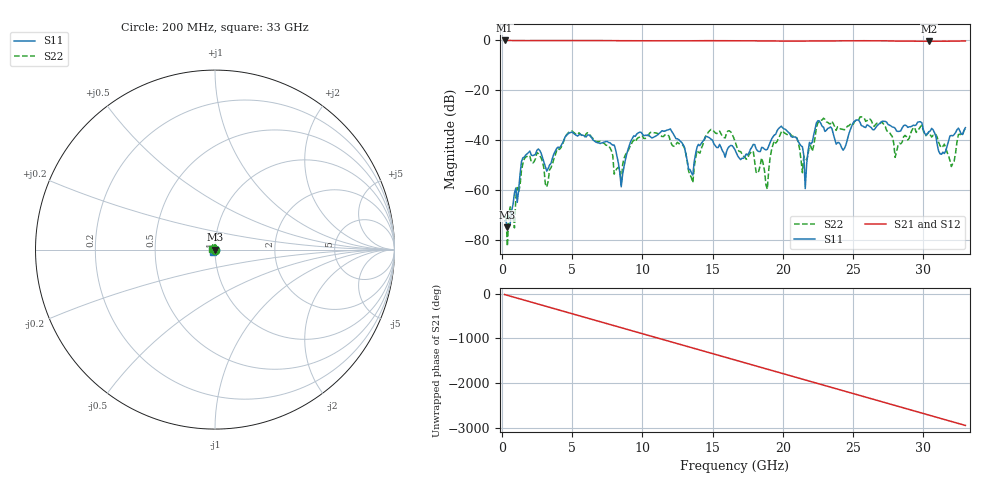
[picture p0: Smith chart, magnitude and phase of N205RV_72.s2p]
# GHZ S RI R 50
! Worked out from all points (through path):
!   329 points, 200 MHz to 33 GHz, reference 50 ohm
!   highest |S21| = -0.02 dB at 200 MHz (marker M1); lowest = -0.4 dB at 30.4 GHz (marker M2)
!   group delay of S21, straight-line fit = 248 ps
!   lowest |S11| = -74.9 dB at 400 MHz (marker M3), VSWR 1.00, Z = 50 + j0.0117 ohm
!   |S11| at or under -10 dB: start of sweep to end of sweep
!   |S22| runs from -82.6 to -30.7 dB; largest |S21 - S12| = 0.0019
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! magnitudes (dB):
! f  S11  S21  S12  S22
! 200 MHz  -72.4  0.0  0.0  -70.4
! 400 MHz  -74.9  0.0  0.0  -82.6
! 1.7 GHz  -46.0  -0.1  -0.1  -46.7
! 3.2 GHz  -52.4  -0.1  -0.1  -58.8
! 5.7 GHz  -38.0  -0.1  -0.1  -38.1
! 8 GHz  -42.0  -0.1  -0.1  -53.6
! 8.5 GHz  -58.7  -0.1  -0.1  -57.9
! 9.4 GHz  -38.2  -0.2  -0.2  -40.0
! 11.2 GHz  -37.3  -0.2  -0.2  -37.8
! 13.6 GHz  -54.0  -0.2  -0.2  -57.1
! 14.8 GHz  -39.2  -0.1  -0.1  -36.2
! 16.6 GHz  -43.9  -0.1  -0.1  -40.4
! 18.9 GHz  -43.7  -0.2  -0.2  -59.7
! 19.9 GHz  -34.4  -0.3  -0.3  -36.6
! 21.4 GHz  -42.7  -0.3  -0.3  -53.1
! 21.6 GHz  -59.5  -0.3  -0.3  -47.1
! 22.1 GHz  -40.8  -0.3  -0.3  -44.5
! 22.9 GHz  -34.8  -0.2  -0.2  -31.2
! 27.6 GHz  -34.0  -0.2  -0.2  -36.9
! 30.4 GHz  -36.6  -0.4  -0.4  -36.8
! 32 GHz  -38.1  -0.3  -0.3  -50.6
! 33 GHz  -35.0  -0.2  -0.2  -35.1
